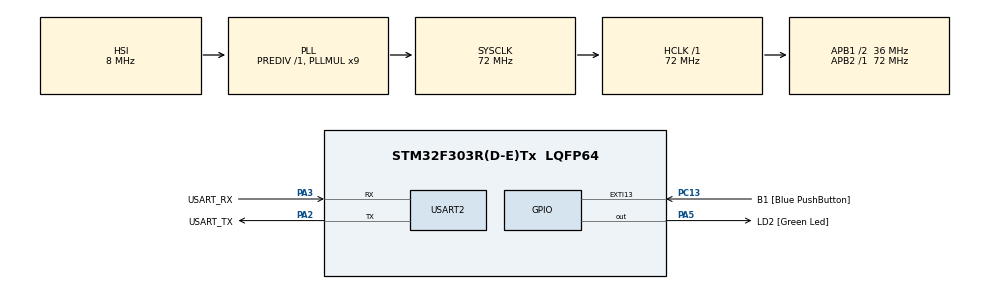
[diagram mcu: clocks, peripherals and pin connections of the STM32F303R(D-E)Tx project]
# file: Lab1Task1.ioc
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Mcu.Family=STM32F3
Mcu.Name=STM32F303R(D-E)Tx
Mcu.Package=LQFP64
NVIC.PriorityGroup=NVIC_PRIORITYGROUP_0
PA13.GPIO_Label=TMS
PA13.Mode=Serial_Wire
PA13.Signal=SYS_JTMS-SWDIO
PA14.GPIO_Label=TCK
PA14.Mode=Serial_Wire
PA14.Signal=SYS_JTCK-SWCLK
PA2.GPIO_Label=USART_TX
PA2.GPIO_Mode=GPIO_MODE_AF_PP
PA2.GPIO_PuPd=GPIO_NOPULL
PA2.GPIO_Speed=GPIO_SPEED_FREQ_LOW
PA2.Mode=Asynchronous
PA2.Signal=USART2_TX
PA3.GPIO_Label=USART_RX
PA3.GPIO_Mode=GPIO_MODE_AF_PP
PA3.GPIO_PuPd=GPIO_NOPULL
PA3.GPIO_Speed=GPIO_SPEED_FREQ_LOW
PA3.Mode=Asynchronous
PA3.Signal=USART2_RX
PA5.GPIO_Label=LD2 [Green Led]
PA5.GPIO_Mode=GPIO_MODE_OUTPUT_PP
PA5.GPIO_PuPd=GPIO_NOPULL
PA5.GPIO_Speed=GPIO_SPEED_FREQ_LOW
PA5.Signal=GPIO_Output
PB3.GPIO_Label=SWO
PB3.Signal=SYS_JTDO-TRACESWO
PC13.GPIO_Label=B1 [Blue PushButton]
PC13.GPIO_ModeDefaultEXTI=GPIO_MODE_IT_FALLING
PC13.Signal=GPXTI13
PC14-OSC32_IN.Mode=LSE-External-Oscillator
PC14-OSC32_IN.Signal=RCC_OSC32_IN
PC15-OSC32_OUT.Mode=LSE-External-Oscillator
PC15-OSC32_OUT.Signal=RCC_OSC32_OUT
PF0-OSC_IN.Mode=HSE-External-Clock-Source
PF0-OSC_IN.Signal=RCC_OSC_IN
PF1-OSC_OUT.Signal=RCC_OSC_OUT
ProjectManager.HeapSize=0x200
ProjectManager.StackSize=0x400
ProjectManager.TargetToolchain=STM32CubeIDE
RCC.AHBFreq_Value=72000000
RCC.APB1CLKDivider=RCC_HCLK_DIV2
RCC.APB1Freq_Value=36000000
RCC.APB1TimFreq_Value=72000000
RCC.APB2Freq_Value=72000000
RCC.APB2TimFreq_Value=72000000
RCC.CortexFreq_Value=72000000
RCC.HCLKFreq_Value=72000000
RCC.HSE_VALUE=8000000
RCC.HSI_VALUE=8000000
RCC.PLLM=8
RCC.PLLMUL=RCC_PLL_MUL9
RCC.PLLN=336
RCC.PLLP=RCC_PLLP_DIV4
RCC.PLLQ=7
RCC.RCC_PLLsource_Clock_Source_FROM_HSE=RCC_HSE_PREDIV_DIV2
RCC.SYSCLKFreq_VALUE=72000000
RCC.SYSCLKSourceVirtual=RCC_SYSCLKSOURCE_PLLCLK
RCC.USBFreq_Value=72000000
USART2.VirtualMode-Asynchronous=VM_ASYNC
board=NUCLEO-F303RE

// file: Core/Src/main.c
/* USER CODE BEGIN Header */
/**
  ******************************************************************************
  * @file           : main.c
  * @brief          : Main program body
  ******************************************************************************
  * @attention
  *
  * Copyright (c) 2025 STMicroelectronics.
  * All rights reserved.
  *
  * This software is licensed under terms that can be found in the LICENSE file
  * in the root directory of this software component.
  * If no LICENSE file comes with this software, it is provided AS-IS.
  *
  ******************************************************************************
  */
/* USER CODE END Header */
#include "main.h"

UART_HandleTypeDef huart2;

void SystemClock_Config(void);
static void MX_GPIO_Init(void);
static void MX_USART2_UART_Init(void);

int main(void)
{

  /* MCU Configuration--------------------------------------------------------*/

  /* Reset of all peripherals, Initializes the Flash interface and the Systick. */
  HAL_Init();

  /* Configure the system clock */
  SystemClock_Config();

  /* Initialize all configured peripherals */
  MX_GPIO_Init();
  MX_USART2_UART_Init();

  /* Infinite loop */
  /* USER CODE BEGIN WHILE */
  GPIO_InitTypeDef GPIO_InitStruct = {0};

 	    HAL_GPIO_WritePin(GPIOB, GPIO_PIN_10, GPIO_PIN_RESET);
 	    HAL_GPIO_WritePin(GPIOB, GPIO_PIN_4, GPIO_PIN_RESET);
 	    HAL_GPIO_WritePin(GPIOB, GPIO_PIN_5, GPIO_PIN_RESET);
 	    HAL_GPIO_WritePin(GPIOB, GPIO_PIN_3, GPIO_PIN_RESET);

 	    GPIO_InitStruct.Pin = GPIO_PIN_10 | GPIO_PIN_4 | GPIO_PIN_5 | GPIO_PIN_3;
 	    GPIO_InitStruct.Mode = GPIO_MODE_OUTPUT_PP;
 	    GPIO_InitStruct.Pull = GPIO_NOPULL;
 	    GPIO_InitStruct.Speed = GPIO_SPEED_FREQ_LOW;
 	    HAL_GPIO_Init(GPIOB, &GPIO_InitStruct);

  while (1)
  {
    /* USER CODE END WHILE */

    /* USER CODE BEGIN 3 */

  if (HAL_GPIO_ReadPin(GPIOA, GPIO_PIN_1)) {
	  HAL_GPIO_WritePin(GPIOB, GPIO_PIN_10, 1);
  }
  HAL_GPIO_WritePin(GPIOB, GPIO_PIN_10, 0);

  if (HAL_GPIO_ReadPin(GPIOA, GPIO_PIN_4)) {
		  HAL_GPIO_WritePin(GPIOB, GPIO_PIN_4, 1);
	  }
	  HAL_GPIO_WritePin(GPIOB, GPIO_PIN_4, 0);

	if (HAL_GPIO_ReadPin(GPIOB, GPIO_PIN_0)) {
		  HAL_GPIO_WritePin(GPIOB, GPIO_PIN_5, 1);
	  }
	  HAL_GPIO_WritePin(GPIOB, GPIO_PIN_5, 0);

  if (HAL_GPIO_ReadPin(GPIOC, GPIO_PIN_1)) {
		  HAL_GPIO_WritePin(GPIOB, GPIO_PIN_3, 1);
	  }
	  HAL_GPIO_WritePin(GPIOB, GPIO_PIN_3, 0);
  }
  /* USER CODE END 3 */
}

void SystemClock_Config(void)
{
  RCC_OscInitTypeDef RCC_OscInitStruct = {0};
  RCC_ClkInitTypeDef RCC_ClkInitStruct = {0};
  RCC_PeriphCLKInitTypeDef PeriphClkInit = {0};

  /** Initializes the RCC Oscillators according to the specified parameters
  * in the RCC_OscInitTypeDef structure.
  */
  RCC_OscInitStruct.OscillatorType = RCC_OSCILLATORTYPE_HSI;
  RCC_OscInitStruct.HSIState = RCC_HSI_ON;
  RCC_OscInitStruct.HSICalibrationValue = RCC_HSICALIBRATION_DEFAULT;
  RCC_OscInitStruct.PLL.PLLState = RCC_PLL_ON;
  RCC_OscInitStruct.PLL.PLLSource = RCC_PLLSOURCE_HSI;
  RCC_OscInitStruct.PLL.PLLMUL = RCC_PLL_MUL9;
  RCC_OscInitStruct.PLL.PREDIV = RCC_PREDIV_DIV1;
  if (HAL_RCC_OscConfig(&RCC_OscInitStruct) != HAL_OK)
  {
    Error_Handler();
  }

  /** Initializes the CPU, AHB and APB buses clocks
  */
  RCC_ClkInitStruct.ClockType = RCC_CLOCKTYPE_HCLK|RCC_CLOCKTYPE_SYSCLK
                              |RCC_CLOCKTYPE_PCLK1|RCC_CLOCKTYPE_PCLK2;
  RCC_ClkInitStruct.SYSCLKSource = RCC_SYSCLKSOURCE_PLLCLK;
  RCC_ClkInitStruct.AHBCLKDivider = RCC_SYSCLK_DIV1;
  RCC_ClkInitStruct.APB1CLKDivider = RCC_HCLK_DIV2;
  RCC_ClkInitStruct.APB2CLKDivider = RCC_HCLK_DIV1;

  if (HAL_RCC_ClockConfig(&RCC_ClkInitStruct, FLASH_LATENCY_2) != HAL_OK)
  {
    Error_Handler();
  }
  PeriphClkInit.PeriphClockSelection = RCC_PERIPHCLK_USART2;
  PeriphClkInit.Usart2ClockSelection = RCC_USART2CLKSOURCE_PCLK1;
  if (HAL_RCCEx_PeriphCLKConfig(&PeriphClkInit) != HAL_OK)
  {
    Error_Handler();
  }
}

static void MX_USART2_UART_Init(void)
{

  huart2.Instance = USART2;
  huart2.Init.BaudRate = 38400;
  huart2.Init.WordLength = UART_WORDLENGTH_8B;
  huart2.Init.StopBits = UART_STOPBITS_1;
  huart2.Init.Parity = UART_PARITY_NONE;
  huart2.Init.Mode = UART_MODE_TX_RX;
  huart2.Init.HwFlowCtl = UART_HWCONTROL_NONE;
  huart2.Init.OverSampling = UART_OVERSAMPLING_16;
  huart2.Init.OneBitSampling = UART_ONE_BIT_SAMPLE_DISABLE;
  huart2.AdvancedInit.AdvFeatureInit = UART_ADVFEATURE_NO_INIT;
  if (HAL_UART_Init(&huart2) != HAL_OK)
  {
    Error_Handler();
  }

}

static void MX_GPIO_Init(void)
{
  GPIO_InitTypeDef GPIO_InitStruct = {0};

  /* GPIO Ports Clock Enable */
  __HAL_RCC_GPIOC_CLK_ENABLE();
  __HAL_RCC_GPIOF_CLK_ENABLE();
  __HAL_RCC_GPIOA_CLK_ENABLE();
  __HAL_RCC_GPIOB_CLK_ENABLE();

  /*Configure GPIO pin Output Level */
  HAL_GPIO_WritePin(LD2_GPIO_Port, LD2_Pin, GPIO_PIN_RESET);

  /*Configure GPIO pin : B1_Pin */
  GPIO_InitStruct.Pin = B1_Pin;
  GPIO_InitStruct.Mode = GPIO_MODE_IT_FALLING;
  GPIO_InitStruct.Pull = GPIO_NOPULL;
  HAL_GPIO_Init(B1_GPIO_Port, &GPIO_InitStruct);

  /*Configure GPIO pin : LD2_Pin */
  GPIO_InitStruct.Pin = LD2_Pin;
  GPIO_InitStruct.Mode = GPIO_MODE_OUTPUT_PP;
  GPIO_InitStruct.Pull = GPIO_NOPULL;
  GPIO_InitStruct.Speed = GPIO_SPEED_FREQ_LOW;
  HAL_GPIO_Init(LD2_GPIO_Port, &GPIO_InitStruct);

}

void Error_Handler(void)
{
  __disable_irq();
  while (1)
  {
  }
}
